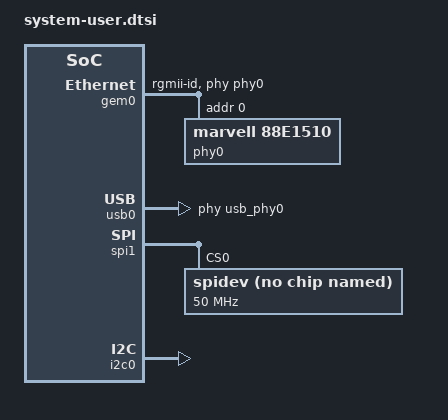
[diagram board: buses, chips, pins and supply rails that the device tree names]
/include/ "system-conf.dtsi"
/{
	usb_phy0: phy0 {
			compatible = "ulpi-phy";
			#phy-cells = <0>;
			reg = <0xe0002000 0x1000>;
			view-port = <0x170>;
			drv-vbus;
	};
};

/* Add various PS devices into user space /dev */
&gem0 {
        status = "okay";
    phy-handle = <&phy0>;
        phy-mode = "rgmii-id";
    phy0: phy@0 {
        compatible = "marvell,88e1510";
        device_type = "ethernet-phy";
        reg = <0x0>;
        /* linux,phandle = <0x5>; */
                /* phandle = <0x5>; */
        /* 
         * modify PHY registers to:
         * Reg 3_16
         * LED[1] bits [7:4] = 0x4 = BLINK=activity, Off=no activity
         * LED[0] bits [3:0] = 0x0 = ON - Link, Off - No Link
         * Reg 3_17
         * LED[1:0] = ON-drive low, OFF-high
         * Reg 3_18
         * LED[0] bits [3:2] = link speed LED blink off period = 170ms
         * LED[0] bits [1:0] = link speed LED blink on period = 340ms
         */
        marvell,reg-init = <3 16 0xff00 0x40>,
                           <3 17 0xfff0 0x0>,
                           <3 18 0xfff0 0x6>;
    };

};

&usb0 {
        usb-phy = <&usb_phy0>;
};

&spi1 {
	spidev@0x00 {
		compatible = "spidev";
		spi-max-frequency = <50000000>;
		reg = <0>;
		};
	};

&i2c0 {
        status = "okay";
};

